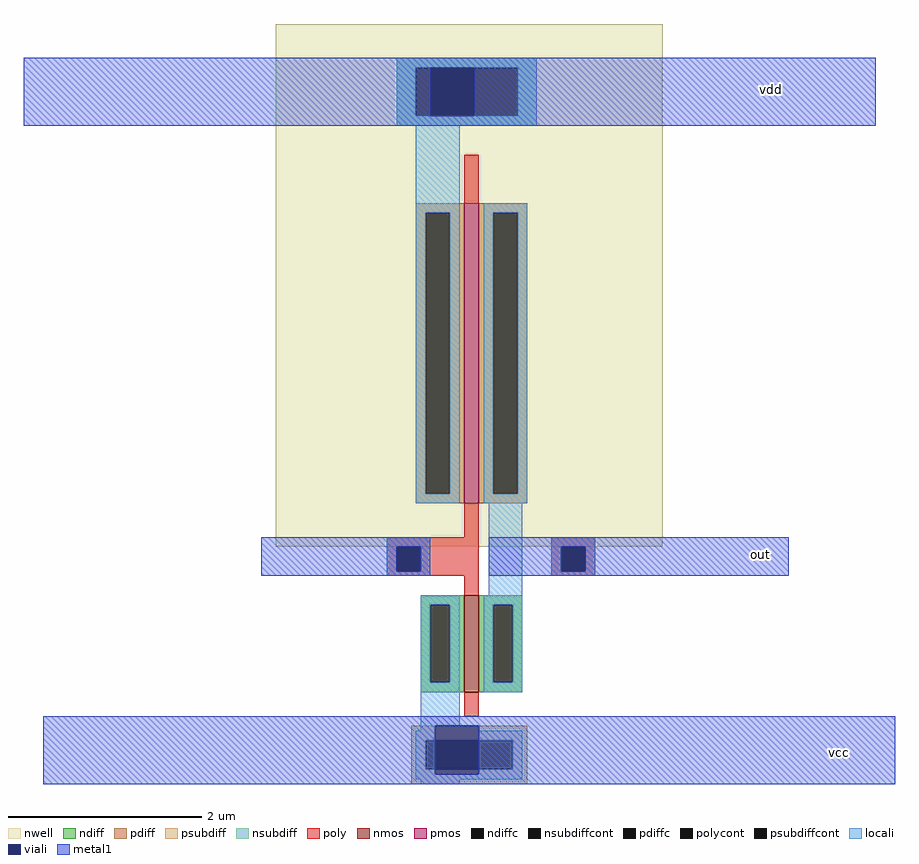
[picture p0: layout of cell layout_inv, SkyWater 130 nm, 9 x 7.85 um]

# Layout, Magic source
magic
tech sky130A
<< nwell >>
rect -100 0 300 540
<< nmos >>
rect 95 -150 110 -50
<< pmos >>
rect 95 45 110 355
<< ndiff >>
rect 50 -60 95 -50
rect 50 -140 60 -60
rect 80 -140 95 -60
rect 50 -150 95 -140
rect 110 -60 155 -50
rect 110 -140 125 -60
rect 145 -140 155 -60
rect 110 -150 155 -140
<< pdiff >>
rect 45 345 95 355
rect 45 55 55 345
rect 80 55 95 345
rect 45 45 95 55
rect 110 345 160 355
rect 110 55 125 345
rect 150 55 160 345
rect 110 45 160 55
<< ndiffc >>
rect 60 -140 80 -60
rect 125 -140 145 -60
<< pdiffc >>
rect 55 55 80 345
rect 125 55 150 345
<< psubdiff >>
rect 40 -200 160 -185
rect 40 -230 55 -200
rect 145 -230 160 -200
rect 40 -245 160 -230
<< nsubdiff >>
rect 25 495 170 505
rect 25 445 45 495
rect 150 445 170 495
rect 25 435 170 445
<< psubdiffcont >>
rect 55 -230 145 -200
<< nsubdiffcont >>
rect 45 445 150 495
<< poly >>
rect 95 355 110 405
rect 95 10 110 45
rect 15 0 110 10
rect 15 -25 25 0
rect 50 -25 110 0
rect 15 -30 110 -25
rect 185 0 230 10
rect 185 -25 195 0
rect 220 -25 230 0
rect 185 -30 230 -25
rect 95 -50 110 -30
rect 95 -175 110 -150
<< polycont >>
rect 25 -25 50 0
rect 195 -25 220 0
<< locali >>
rect 25 495 170 505
rect 25 445 45 495
rect 150 445 170 495
rect 25 435 170 445
rect 45 345 90 435
rect 45 55 55 345
rect 80 55 90 345
rect 45 45 90 55
rect 115 345 160 355
rect 115 55 125 345
rect 150 55 160 345
rect 115 45 160 55
rect 15 0 60 10
rect 15 -25 25 0
rect 50 -25 60 0
rect 15 -30 60 -25
rect 120 -50 155 45
rect 185 0 230 10
rect 185 -25 195 0
rect 220 -25 230 0
rect 185 -30 230 -25
rect 50 -60 90 -50
rect 50 -140 60 -60
rect 80 -140 90 -60
rect 50 -185 90 -140
rect 115 -60 155 -50
rect 115 -140 125 -60
rect 145 -140 155 -60
rect 115 -150 155 -140
rect 50 -190 65 -185
rect 45 -200 65 -190
rect 110 -200 155 -190
rect 45 -230 55 -200
rect 145 -230 155 -200
rect 45 -235 65 -230
rect 110 -235 155 -230
rect 45 -240 155 -235
rect 50 -245 90 -240
<< viali >>
rect 60 445 105 495
rect 25 -25 50 0
rect 195 -25 220 0
rect 65 -200 110 -185
rect 65 -230 110 -200
rect 65 -235 110 -230
<< metal1 >>
rect -360 495 520 505
rect -360 445 60 495
rect 105 445 520 495
rect -360 435 520 445
rect -115 0 60 10
rect -115 -25 25 0
rect 50 -25 60 0
rect -115 -30 60 -25
rect 120 0 430 10
rect 120 -25 195 0
rect 220 -25 430 0
rect 120 -30 430 -25
rect -340 -185 540 -175
rect -340 -235 65 -185
rect 110 -235 540 -185
rect -340 -245 540 -235
<< labels >>
rlabel metal1 410 470 415 475 1 vdd
rlabel metal1 466 -220 500 -205 1 vcc
rlabel metal1 384 -15 418 0 1 out
<< end >>
